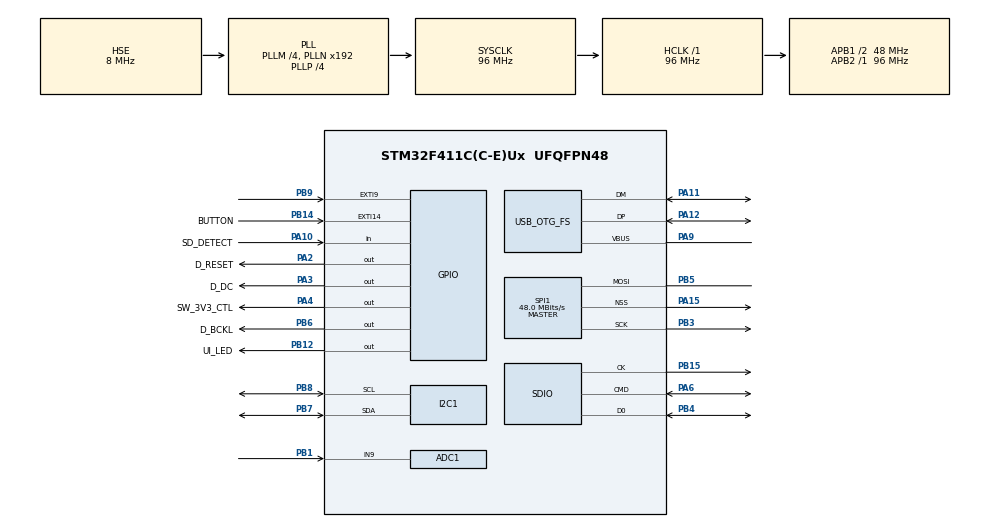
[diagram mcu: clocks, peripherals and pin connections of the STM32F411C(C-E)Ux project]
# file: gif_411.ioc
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ADC1.Channel-1\#ChannelRegularConversion=ADC_CHANNEL_9
ADC1.Channel-2\#ChannelRegularConversion=ADC_CHANNEL_TEMPSENSOR
ADC1.EOCSelection=ADC_EOC_SEQ_CONV
ADC1.NbrOfConversion=2
ADC1.NbrOfConversionFlag=1
ADC1.Rank-1\#ChannelRegularConversion=1
ADC1.Rank-2\#ChannelRegularConversion=2
ADC1.SamplingTime-1\#ChannelRegularConversion=ADC_SAMPLETIME_480CYCLES
ADC1.SamplingTime-2\#ChannelRegularConversion=ADC_SAMPLETIME_480CYCLES
ADC1.master=1
Dma.ADC1.2.Direction=DMA_PERIPH_TO_MEMORY
Dma.ADC1.2.FIFOMode=DMA_FIFOMODE_DISABLE
Dma.ADC1.2.Instance=DMA2_Stream0
Dma.ADC1.2.MemDataAlignment=DMA_MDATAALIGN_WORD
Dma.ADC1.2.MemInc=DMA_MINC_ENABLE
Dma.ADC1.2.Mode=DMA_CIRCULAR
Dma.ADC1.2.PeriphDataAlignment=DMA_PDATAALIGN_WORD
Dma.ADC1.2.PeriphInc=DMA_PINC_DISABLE
Dma.ADC1.2.Priority=DMA_PRIORITY_LOW
Dma.Request0=SPI1_TX
Dma.Request1=SDIO
Dma.Request2=ADC1
Dma.SDIO.1.Direction=DMA_PERIPH_TO_MEMORY
Dma.SDIO.1.FIFOMode=DMA_FIFOMODE_ENABLE
Dma.SDIO.1.FIFOThreshold=DMA_FIFO_THRESHOLD_FULL
Dma.SDIO.1.Instance=DMA2_Stream3
Dma.SDIO.1.MemBurst=DMA_MBURST_INC4
Dma.SDIO.1.MemDataAlignment=DMA_MDATAALIGN_WORD
Dma.SDIO.1.MemInc=DMA_MINC_ENABLE
Dma.SDIO.1.Mode=DMA_PFCTRL
Dma.SDIO.1.PeriphBurst=DMA_PBURST_INC4
Dma.SDIO.1.PeriphDataAlignment=DMA_PDATAALIGN_WORD
Dma.SDIO.1.PeriphInc=DMA_PINC_DISABLE
Dma.SDIO.1.Priority=DMA_PRIORITY_LOW
Dma.SPI1_TX.0.Direction=DMA_MEMORY_TO_PERIPH
Dma.SPI1_TX.0.FIFOMode=DMA_FIFOMODE_DISABLE
Dma.SPI1_TX.0.Instance=DMA2_Stream2
Dma.SPI1_TX.0.MemDataAlignment=DMA_MDATAALIGN_BYTE
Dma.SPI1_TX.0.MemInc=DMA_MINC_ENABLE
Dma.SPI1_TX.0.Mode=DMA_NORMAL
Dma.SPI1_TX.0.PeriphDataAlignment=DMA_PDATAALIGN_BYTE
Dma.SPI1_TX.0.PeriphInc=DMA_PINC_DISABLE
Dma.SPI1_TX.0.Priority=DMA_PRIORITY_LOW
FATFS.BSP.number=1
FATFS._FS_LOCK=4
FATFS._LFN_UNICODE=0
FATFS._STRF_ENCODE=0
FATFS._USE_LABEL=1
FATFS._USE_LFN=1
FATFS0.BSP.STBoard=false
FATFS0.BSP.api=Unknown
FATFS0.BSP.i2caddr=0
FATFS0.BSP.instance=PA10
FATFS0.BSP.ip=GPIO
FATFS0.BSP.mode=Input
FATFS0.BSP.name=Detect_SDIO
FATFS0.BSP.solution=PA10
I2C1.I2C_Mode=I2C_Fast
LIBJPEG.LIBJPEG_FS_type=FatFS
Mcu.Family=STM32F4
Mcu.Name=STM32F411C(C-E)Ux
Mcu.Package=UFQFPN48
Mcu.UserConstants=SLEEP_TIMEOUT,2000000
NVIC.ADC_IRQn=true\:0\:0\:false\:false\:true\:true\:true
NVIC.DMA2_Stream0_IRQn=true\:6\:0\:true\:false\:true\:false\:true
NVIC.DMA2_Stream2_IRQn=true\:5\:0\:true\:false\:true\:false\:true
NVIC.DMA2_Stream3_IRQn=true\:4\:0\:true\:false\:true\:false\:true
NVIC.EXTI15_10_IRQn=true\:2\:0\:true\:false\:true\:true\:true
NVIC.EXTI9_5_IRQn=true\:2\:0\:true\:false\:true\:true\:true
NVIC.OTG_FS_IRQn=true\:1\:0\:true\:false\:true\:false\:true
NVIC.PriorityGroup=NVIC_PRIORITYGROUP_4
NVIC.SDIO_IRQn=true\:0\:0\:true\:false\:true\:true\:true
NVIC.SPI1_IRQn=true\:4\:0\:true\:false\:true\:true\:true
NVIC.TIM1_TRG_COM_TIM11_IRQn=true\:6\:0\:true\:false\:true\:true\:true
NVIC.TIM1_UP_TIM10_IRQn=true\:6\:0\:true\:false\:true\:true\:true
NVIC.TIM5_IRQn=true\:0\:0\:false\:false\:true\:true\:true
PA10.GPIO_Label=SD_DETECT
PA10.Signal=GPIO_Input
PA11.Mode=Device_Only
PA11.Signal=USB_OTG_FS_DM
PA12.Mode=Device_Only
PA12.Signal=USB_OTG_FS_DP
PA13.Mode=Serial_Wire
PA13.Signal=SYS_JTMS-SWDIO
PA14.Mode=Serial_Wire
PA14.Signal=SYS_JTCK-SWCLK
PA15.Mode=NSS_Signal_Hard_Output
PA15.Signal=SPI1_NSS
PA2.GPIO_Label=D_RESET
PA2.GPIO_ModeDefaultOutputPP=GPIO_MODE_OUTPUT_PP
PA2.GPIO_PuPd=GPIO_NOPULL
PA2.GPIO_Speed=GPIO_SPEED_FREQ_LOW
PA2.PinState=GPIO_PIN_RESET
PA2.Signal=GPIO_Output
PA3.GPIO_Label=D_DC
PA3.GPIO_ModeDefaultOutputPP=GPIO_MODE_OUTPUT_PP
PA3.GPIO_PuPd=GPIO_NOPULL
PA3.GPIO_Speed=GPIO_SPEED_FREQ_LOW
PA3.PinState=GPIO_PIN_RESET
PA3.Signal=GPIO_Output
PA4.GPIO_Label=SW_3V3_CTL
PA4.PinState=GPIO_PIN_SET
PA4.Signal=GPIO_Output
PA6.Mode=SD_1_bit
PA6.Signal=SDIO_CMD
PA9.Mode=Activate_VBUS
PA9.Signal=USB_OTG_FS_VBUS
PB1.Signal=ADCx_IN9
PB12.GPIO_Label=UI_LED
PB12.GPIO_ModeDefaultOutputPP=GPIO_MODE_OUTPUT_PP
PB12.GPIO_PuPd=GPIO_NOPULL
PB12.GPIO_Speed=GPIO_SPEED_FREQ_LOW
PB12.PinState=GPIO_PIN_SET
PB12.Signal=GPIO_Output
PB14.GPIO_Label=BUTTON
PB14.GPIO_ModeDefaultEXTI=GPIO_MODE_IT_RISING_FALLING
PB14.GPIO_PuPd=GPIO_PULLUP
PB14.Signal=GPXTI14
PB15.Mode=SD_1_bit
PB15.Signal=SDIO_CK
PB3.Mode=Simplex_Bidirectional_Master
PB3.Signal=SPI1_SCK
PB4.Mode=SD_1_bit
PB4.Signal=SDIO_D0
PB5.Mode=Simplex_Bidirectional_Master
PB5.Signal=SPI1_MOSI
PB6.GPIO_Label=D_BCKL
PB6.GPIO_ModeDefaultOutputPP=GPIO_MODE_OUTPUT_PP
PB6.GPIO_PuPd=GPIO_NOPULL
PB6.GPIO_Speed=GPIO_SPEED_FREQ_LOW
PB6.PinState=GPIO_PIN_SET
PB6.Signal=GPIO_Output
PB7.Mode=I2C
PB7.Signal=I2C1_SDA
PB8.Mode=I2C
PB8.Signal=I2C1_SCL
PB9.GPIO_ModeDefaultEXTI=GPIO_MODE_IT_RISING
PB9.GPIO_PuPd=GPIO_NOPULL
PB9.Signal=GPXTI9
PH0\ -\ OSC_IN.Mode=HSE-External-Oscillator
PH0\ -\ OSC_IN.Signal=RCC_OSC_IN
PH1\ -\ OSC_OUT.Mode=HSE-External-Oscillator
PH1\ -\ OSC_OUT.Signal=RCC_OSC_OUT
ProjectManager.HeapSize=0x2000
ProjectManager.StackSize=0x2000
ProjectManager.TargetToolchain=STM32CubeIDE
RCC.48MHZClocksFreq_Value=48000000
RCC.AHBFreq_Value=96000000
RCC.APB1CLKDivider=RCC_HCLK_DIV2
RCC.APB1Freq_Value=48000000
RCC.APB1TimFreq_Value=96000000
RCC.APB2Freq_Value=96000000
RCC.APB2TimFreq_Value=96000000
RCC.CortexFreq_Value=96000000
RCC.EnbaleCSS=true
RCC.HCLKFreq_Value=96000000
RCC.HSE_VALUE=8000000
RCC.HSI_VALUE=16000000
RCC.LSE_VALUE=32768
RCC.PLLM=4
RCC.PLLP=RCC_PLLP_DIV4
RCC.PLLQ=8
RCC.PREFETCH_ENABLE=0
RCC.PWR_Regulator_Voltage_Scale=PWR_REGULATOR_VOLTAGE_SCALE1
RCC.RCC_MCO1Source=RCC_MCO1SOURCE_HSE
RCC.SYSCLKFreq_VALUE=96000000
RCC.SYSCLKSource=RCC_SYSCLKSOURCE_PLLCLK
RCC.VCOOutputFreq_Value=384000000
SDIO.ClockDiv=2
SDIO.HardwareFlowControl=SDIO_HARDWARE_FLOW_CONTROL_DISABLE
SH.ADCx_IN9.0=ADC1_IN9,IN9
SPI1.BaudRatePrescaler=SPI_BAUDRATEPRESCALER_2
SPI1.CLKPhase=SPI_PHASE_2EDGE
SPI1.CLKPolarity=SPI_POLARITY_HIGH
SPI1.CalculateBaudRate=48.0 MBits/s
SPI1.Direction=SPI_DIRECTION_1LINE
SPI1.Mode=SPI_MODE_MASTER
SPI1.VirtualNSS=VM_NSSHARD
SPI1.VirtualType=VM_MASTER
TIM10.Period=1000
TIM10.Prescaler=96
TIM11.Period=2000
TIM11.Prescaler=48000
TIM5.Period=SLEEP_TIMEOUT
TIM5.Prescaler=96
TIM9.ClockDivision=TIM_CLOCKDIVISION_DIV1
TIM9.Prescaler=48000
USB_DEVICE.CLASS_NAME_FS=MSC
USB_DEVICE.MANUFACTURER_STRING=protonotarios.info
USB_DEVICE.PID_MSC_FS=0x1234
USB_DEVICE.PRODUCT_STRING_MSC_FS=gif_button
USB_DEVICE.VID=0x1234
USB_DEVICE.VirtualMode=Msc
USB_DEVICE.VirtualModeFS=Msc_FS
USB_OTG_FS.VirtualMode=Device_Only
VP_ADC1_TempSens_Input.Mode=IN-TempSens
VP_FATFS_VS_SDIO.Mode=SDIO
VP_LIBJPEG_VS_JPEGLIB.Mode=Enabled
VP_TIM10_VS_ClockSourceINT.Mode=Enable_Timer
VP_TIM11_VS_ClockSourceINT.Mode=Enable_Timer
VP_TIM5_VS_ClockSourceINT.Mode=Internal
VP_TIM9_VS_ClockSourceINT.Mode=Internal
VP_USB_DEVICE_VS_USB_DEVICE_MSC_FS.Mode=MSC_FS
board=custom

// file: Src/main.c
/* USER CODE BEGIN Header */
/**
  ******************************************************************************
  * @file           : main.c
  * @brief          : Main program body
  ******************************************************************************
  * @attention
  *
  * <h2><center>&copy; Copyright (c) 2020 STMicroelectronics.
  * All rights reserved.</center></h2>
  *
  * This software component is licensed by ST under Ultimate Liberty license
  * SLA0044, the "License"; You may not use this file except in compliance with
  * the License. You may obtain a copy of the License at:
  *                             www.st.com/SLA0044
  *
  ******************************************************************************
  */
/* USER CODE END Header */
#include "main.h"
#include "adc.h"
#include "dma.h"
#include "fatfs.h"
#include "i2c.h"
#include "libjpeg.h"
#include "sdio.h"
#include "spi.h"
#include "tim.h"
#include "usb_device.h"
#include "gpio.h"

/* USER CODE BEGIN Includes */
#include <stdarg.h>
#include <stdbool.h>
#include "st7789h2.h"
#include "string.h"
#include "SEGGER_RTT.h"
#include "gif_button_bsp.h"
/* USER CODE END Includes */

/* USER CODE BEGIN PV */
bool go_to_sleep_flag = false;
/* USER CODE END PV */

void SystemClock_Config(void);

/* USER CODE BEGIN 0 */

void DisableGpios()
{
   GPIO_InitTypeDef GPIO_InitStructure = {0};
   GPIO_InitStructure.Pin = GPIO_PIN_All;
   GPIO_InitStructure.Mode = GPIO_MODE_ANALOG;
   GPIO_InitStructure.Pull = GPIO_NOPULL;

   // TODO check this since it is already probably in analog state
//   HAL_GPIO_Init(GPIOC, &GPIO_InitStructure);
//   __HAL_RCC_GPIOC_CLK_DISABLE();

   // RCC HSE pins leak ~100uA
   HAL_GPIO_Init(GPIOH, &GPIO_InitStructure);
   __HAL_RCC_GPIOH_CLK_DISABLE();
}

void go_to_sleep(void)
{
	go_to_sleep_flag = false;

	// hold pins low due to leakage (~60uA)
	LCD_RES_LOW();
	LCD_DC_LOW();

	// set all pins that leak to analog mode
	HAL_SD_DeInit(&hsd);
	HAL_SPI_MspDeInit(&hspi1);
//	HAL_I2C_MspDeInit(&hi2c1);
	DisableGpios();

	USB_PowerDown();

	/* turn display, sd card power supply OFF */
	HAL_GPIO_WritePin(SW_3V3_CTL_GPIO_Port, SW_3V3_CTL_Pin, GPIO_PIN_RESET);

	HAL_GPIO_WritePin(D_BCKL_GPIO_Port, D_BCKL_Pin, GPIO_PIN_RESET);

	HAL_SuspendTick();

	CLEAR_BIT(ADC1->CR2, ADC_CR2_ADON);

	HAL_PWREx_EnableFlashPowerDown();
	HAL_PWREx_EnableLowRegulatorLowVoltage();

	// TODO? disable interrupt except the one you want to wake you up (button?) or set up an event
	HAL_PWR_EnterSTOPMode(PWR_LOWPOWERREGULATOR_ON, PWR_SLEEPENTRY_WFI);

	HAL_PWREx_DisableFlashPowerDown();
	HAL_PWREx_DisableLowRegulatorLowVoltage();

	SystemClock_Config();
	HAL_ResumeTick();

	/* turn display, sd_card supply ON */
	HAL_GPIO_WritePin(SW_3V3_CTL_GPIO_Port, SW_3V3_CTL_Pin, GPIO_PIN_SET);
	HAL_GPIO_WritePin(D_BCKL_GPIO_Port, D_BCKL_Pin, GPIO_PIN_SET);

	USB_PowerUp();
	HAL_SPI_MspInit(&hspi1);
	ST7789H2_Init();

	//	HAL_SD_MspInit(&hsd);
	BSP_SD_Init();
	fatfs_read_SD_contents();
	decode_and_display_jpg(jpg0);
}

/**
  * @brief  User button callback
  * @param  GPIO_Pin Specifies the pins connected EXTI line
  * @retval None
  */
void HAL_GPIO_EXTI_Callback(uint16_t GPIO_Pin)
{
	if(GPIO_Pin == GPIO_PIN_9)
	{
		log_segger("LIS2 int 1\n");

//		__HAL_TIM_CLEAR_IT(&htim5, TIM_IT_UPDATE); // Clear update flag that triggers int as soon as the base is started
		HAL_TIM_Base_Start_IT(&htim5); 		// Start tim9 to count SLEEP_TIMEOUT useconds before going back to sleep.
		__HAL_TIM_SET_COUNTER(&htim5, 0); 	// restart the counter every time (in case a second interrupt occurs while already on run mode
	}
	// If the button is pressed/depressed, start the counter
	if(GPIO_Pin == GPIO_PIN_14)
	{
		// +Software debounce, 1ms
		__HAL_TIM_SET_COUNTER(&htim10, 0);
		HAL_TIM_Base_Start_IT(&htim10);
	}
	if(GPIO_Pin == SD_DETECT_PIN)
	{
		// debounce, reinit sd card, etc etc
		__HAL_TIM_SET_COUNTER(&htim11, 0);
		HAL_TIM_Base_Start_IT(&htim11);
	}
}

/**
  * @brief  Period elapsed callback in non-blocking mode for button debounce & backlight timeout
  * @param  htim TIM handle
  * @retval None
  */
void HAL_TIM_PeriodElapsedCallback(TIM_HandleTypeDef *htim)
{
	if (htim->Instance == TIM5)
	{
//		log_segger("int tim5\n");
		HAL_TIM_Base_Stop_IT(&htim5);

		/* when timer elapses, go to sleep if usb is not plugged-in = PA9 is VBUS */
		if (!HAL_GPIO_ReadPin(GPIOA, GPIO_PIN_9))
			go_to_sleep_flag = true;
	}
	if(htim->Instance == TIM10)
	{
		HAL_TIM_Base_Stop_IT(&htim10);

		if(HAL_GPIO_ReadPin(GPIOB, GPIO_PIN_14) == GPIO_PIN_RESET)
		{
			// Button pressed
//			log_segger("button debounced, pressed\n");
			HAL_GPIO_WritePin(UI_LED_GPIO_Port, UI_LED_Pin, GPIO_PIN_RESET);
			decode_and_display_jpg(jpg1);

			// Start timer 9 to count long presses for showing batt & temp OR restart
			HAL_TIM_Base_Start(&htim9);
		}
		else
		{
			// Button depressed
//			log_segger("button debounced, depressed\n");
			HAL_GPIO_WritePin(UI_LED_GPIO_Port, UI_LED_Pin, GPIO_PIN_SET);
			decode_and_display_jpg(jpg0);

			// In case the button is depressed, measure its duration and act accordingly
//			log_segger("tim9 duration: %4.2f seconds\n", (htim9.Instance->CNT)/2000.0);
			if(htim9.Instance->CNT > 20000) // 10 seconds to reset the system
				NVIC_SystemReset();
			if(htim9.Instance->CNT > 4000) 	// 2 seconds to display batt v & temp
				measure_and_display_voltage();
			__HAL_TIM_SET_COUNTER(&htim9, 0);
			HAL_TIM_Base_Stop(&htim9);
		}
	}
	if(htim->Instance == TIM11)
	{
		HAL_TIM_Base_Stop_IT(&htim11);

		if (BSP_PlatformIsDetected() == SD_PRESENT)
		{
			BSP_SD_Init();
			fatfs_read_SD_contents();
		}
		else
		{
			log_segger("sd removed \n");
			fatfs_unmount_SD();
		}
	}
}
/* USER CODE END 0 */

int main(void)
{

  /* MCU Configuration--------------------------------------------------------*/

  /* Reset of all peripherals, Initializes the Flash interface and the Systick. */
  HAL_Init();

  /* Configure the system clock */
  SystemClock_Config();

  /* Initialize all configured peripherals */
  MX_GPIO_Init();
  MX_DMA_Init();
  MX_I2C1_Init();
  MX_SPI1_Init();
  MX_SDIO_SD_Init();
  MX_ADC1_Init();
  MX_USB_DEVICE_Init();
  MX_LIBJPEG_Init();
  MX_FATFS_Init();
  MX_TIM9_Init();
  MX_TIM10_Init();
  MX_TIM11_Init();
  MX_TIM5_Init();
  /* USER CODE BEGIN 2 */
  ST7789H2_Init();
  lis2dh_init();

  log_segger("Init done\n");
  decode_and_display_jpg(jpg0);

  /* USER CODE END 2 */

  /* Infinite loop */
  while (1)
  {
	  if (go_to_sleep_flag)
		  go_to_sleep();
  }
}

void SystemClock_Config(void)
{
  RCC_OscInitTypeDef RCC_OscInitStruct = {0};
  RCC_ClkInitTypeDef RCC_ClkInitStruct = {0};

  /** Configure the main internal regulator output voltage
  */
  __HAL_RCC_PWR_CLK_ENABLE();
  __HAL_PWR_VOLTAGESCALING_CONFIG(PWR_REGULATOR_VOLTAGE_SCALE1);
  /** Initializes the RCC Oscillators according to the specified parameters
  * in the RCC_OscInitTypeDef structure.
  */
  RCC_OscInitStruct.OscillatorType = RCC_OSCILLATORTYPE_HSE;
  RCC_OscInitStruct.HSEState = RCC_HSE_ON;
  RCC_OscInitStruct.PLL.PLLState = RCC_PLL_ON;
  RCC_OscInitStruct.PLL.PLLSource = RCC_PLLSOURCE_HSE;
  RCC_OscInitStruct.PLL.PLLM = 4;
  RCC_OscInitStruct.PLL.PLLN = 192;
  RCC_OscInitStruct.PLL.PLLP = RCC_PLLP_DIV4;
  RCC_OscInitStruct.PLL.PLLQ = 8;
  if (HAL_RCC_OscConfig(&RCC_OscInitStruct) != HAL_OK)
  {
    Error_Handler();
  }
  /** Initializes the CPU, AHB and APB buses clocks
  */
  RCC_ClkInitStruct.ClockType = RCC_CLOCKTYPE_HCLK|RCC_CLOCKTYPE_SYSCLK
                              |RCC_CLOCKTYPE_PCLK1|RCC_CLOCKTYPE_PCLK2;
  RCC_ClkInitStruct.SYSCLKSource = RCC_SYSCLKSOURCE_PLLCLK;
  RCC_ClkInitStruct.AHBCLKDivider = RCC_SYSCLK_DIV1;
  RCC_ClkInitStruct.APB1CLKDivider = RCC_HCLK_DIV2;
  RCC_ClkInitStruct.APB2CLKDivider = RCC_HCLK_DIV1;

  if (HAL_RCC_ClockConfig(&RCC_ClkInitStruct, FLASH_LATENCY_3) != HAL_OK)
  {
    Error_Handler();
  }
  /** Enables the Clock Security System
  */
  HAL_RCC_EnableCSS();
}

/* USER CODE BEGIN 4 */

void log_segger(const char *format, ...)
{
	static char segger_debug_string[1024];
	va_list args;
	va_start(args, format);
	vsprintf(segger_debug_string, format, args);
	va_end(args);

	SEGGER_RTT_WriteString(0, segger_debug_string);
}

/* USER CODE END 4 */

void Error_Handler(void)
{
  /* USER CODE BEGIN Error_Handler_Debug */
  /* User can add his own implementation to report the HAL error return state */

	log_segger("error!!\n");

  /* USER CODE END Error_Handler_Debug */
}

#ifdef  USE_FULL_ASSERT
/**
  * @brief  Reports the name of the source file and the source line number
  *         where the assert_param error has occurred.
  * @param  file: pointer to the source file name
  * @param  line: assert_param error line source number
  * @retval None
  */
void assert_failed(uint8_t *file, uint32_t line)
{
  /* USER CODE BEGIN 6 */
  /* User can add his own implementation to report the file name and line number,
     tex: printf("Wrong parameters value: file %s on line %d\r\n", file, line) */
	log_segger("Wrong parameters value: file %s on line %ld\r\n", file, line);
  /* USER CODE END 6 */
}
#endif /* USE_FULL_ASSERT */

/************************ (C) COPYRIGHT STMicroelectronics *****END OF FILE****/
